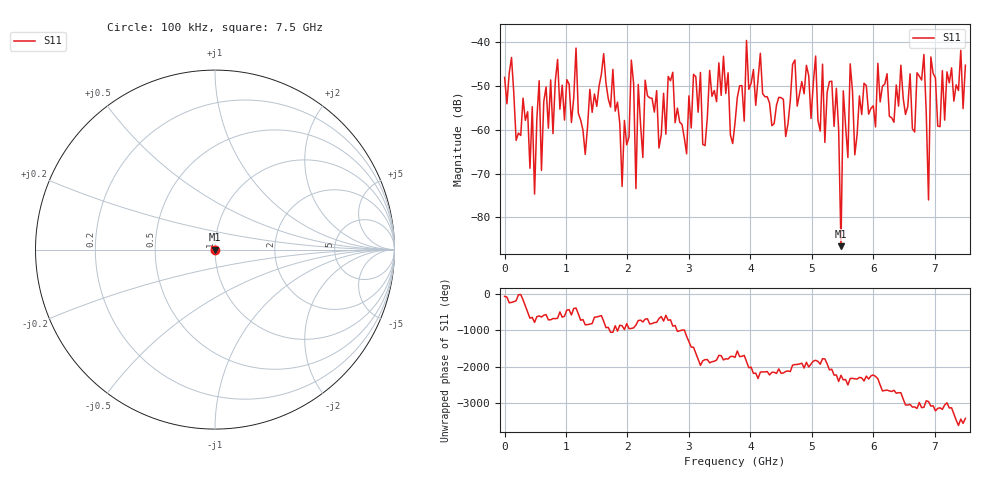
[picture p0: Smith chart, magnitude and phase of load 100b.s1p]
# Hz S RI R 50.000000
! FREQ  re:S1  1  im:S1  1
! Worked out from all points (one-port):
!   201 points, 100 kHz to 7.5 GHz, reference 50 ohm
!   lowest |S11| = -86.6 dB at 5.475 GHz (marker M1), VSWR 1.00, Z = 50 - j0.00462 ohm
!   |S11| at or under -10 dB: start of sweep to end of sweep
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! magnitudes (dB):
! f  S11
! 100 kHz  -48.0
! 450.1 MHz  -54.7
! 487.6 MHz  -74.7
! 562.6 MHz  -48.8
! 600.1 MHz  -69.3
! 937.6 MHz  -49.8
! 1.875 GHz  -58.6
! 1.913 GHz  -72.9
! 2.063 GHz  -44.1
! 2.138 GHz  -73.4
! 2.175 GHz  -49.6
! 2.813 GHz  -55.0
! 3.75 GHz  -58.5
! 3.937 GHz  -39.6
! 4.575 GHz  -61.5
! 4.687 GHz  -45.0
! 5.4 GHz  -50.5
! 5.475 GHz  -86.6
! 5.512 GHz  -51.1
! 5.587 GHz  -66.3
! 5.625 GHz  -44.9
! 5.7 GHz  -65.7
! 6.075 GHz  -44.8
! 6.562 GHz  -54.7
! 6.825 GHz  -42.8
! 6.9 GHz  -76.0
! 6.937 GHz  -43.4
! 7.5 GHz  -45.3
